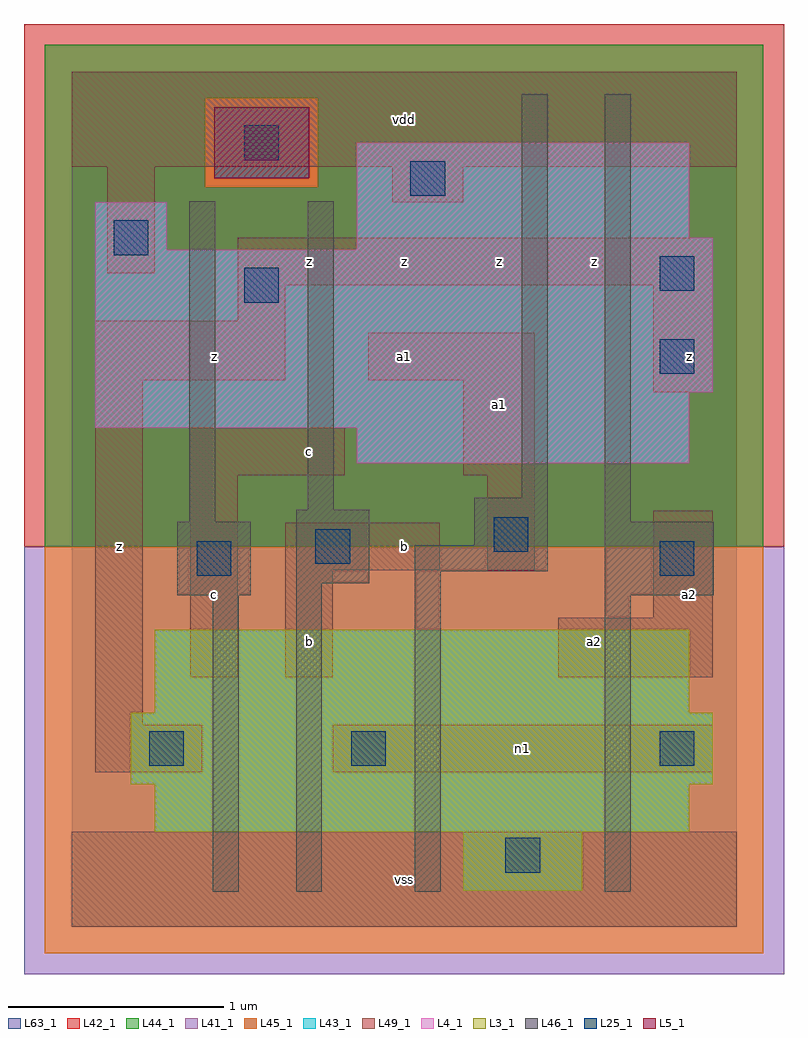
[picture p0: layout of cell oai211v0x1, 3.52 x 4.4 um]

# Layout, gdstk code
import gdstk
lib = gdstk.Library(unit=1e-6, precision=1e-09)
def R(c, l, rs):  # rectangles x0, y0, x1, y1
    for r in rs: c.add(gdstk.rectangle(r[:2], r[2:], *l))
L3_1 = (3, 1)
L4_1 = (4, 1)
L5_1 = (5, 1)
L25_1 = (25, 1)
L41_1 = (41, 1)
L42_1 = (42, 1)
L43_1 = (43, 1)
L44_1 = (44, 1)
L45_1 = (45, 1)
L46_1 = (46, 1)
L49_1 = (49, 1)
L63_1 = (63, 1)

oai211v0x1 = lib.new_cell('oai211v0x1')
R(oai211v0x1, L3_1, [(1.815,0.165,2.365,0.44), (0.385,0.44,2.86,0.66), (0.275,0.66,2.97,0.99), (0.385,0.99,2.86,1.375)])
R(oai211v0x1, L4_1, [(1.32,2.145,2.86,2.31), (0.11,2.31,2.86,2.475), (0.11,2.475,2.97,3.135), (0.11,3.135,0.44,3.355), (1.32,3.135,2.97,3.19), (1.32,3.19,2.86,3.63)])
R(oai211v0x1, L5_1, [(0.66,3.465,1.1,3.795)])
R(oai211v0x1, L25_1, [(2.01,0.25,2.17,0.41), (0.36,0.745,0.52,0.905), (1.295,0.745,1.455,0.905), (2.725,0.745,2.885,0.905), (0.58,1.625,0.74,1.785), (2.725,1.625,2.885,1.785), (1.13,1.68,1.29,1.84), (1.955,1.735,2.115,1.895), (2.725,2.56,2.885,2.72), (0.8,2.89,0.96,3.05), (2.725,2.945,2.885,3.105), (0.195,3.11,0.355,3.27), (1.57,3.385,1.73,3.545), (0.8,3.55,0.96,3.71)])
R(oai211v0x1, L41_1, [(-0.22,-0.22,3.3,1.76)])
R(oai211v0x1, L42_1, [(-0.22,1.76,3.3,4.18)])
R(oai211v0x1, L43_1, [(1.815,0.165,2.365,0.44), (0.385,0.44,2.86,0.66), (0.275,0.66,2.97,0.99), (0.385,0.99,2.86,1.375), (1.32,2.145,2.86,2.31), (0.11,2.31,2.86,2.475), (0.11,2.475,2.97,3.135), (0.11,3.135,0.44,3.355), (1.32,3.135,2.97,3.19), (1.32,3.19,2.86,3.63), (0.66,3.465,1.1,3.795)])
R(oai211v0x1, L44_1, [(-0.125,1.76,3.205,3.425), (-0.125,3.425,0.62,3.835), (1.14,3.425,3.205,3.835), (-0.125,3.835,3.205,4.085)])
R(oai211v0x1, L45_1, [(-0.125,-0.125,3.205,1.76), (0.62,3.425,1.14,3.835)])
R(oai211v0x1, L46_1, [(0.655,0.16,0.775,1.535), (1.04,0.16,1.16,1.59), (1.59,0.16,1.71,1.645), (2.47,0.16,2.59,1.535), (0.49,1.535,0.83,1.875), (2.47,1.535,2.975,1.875), (1.04,1.59,1.38,1.93), (1.59,1.645,2.205,1.765), (1.865,1.765,2.205,1.985), (0.545,1.875,0.665,3.36), (2.47,1.875,2.59,3.855), (1.095,1.93,1.215,3.36), (2.085,1.985,2.205,3.855)])
R(oai211v0x1, L49_1, [(0,0,3.08,0.44), (0.11,0.715,0.605,0.935), (1.21,0.715,2.97,0.935), (0.11,0.935,0.33,2.53), (0.55,1.155,0.77,2.09), (0.99,1.155,1.21,1.65), (2.255,1.155,2.97,1.43), (2.695,1.43,2.97,1.925), (0.99,1.65,1.705,1.87), (1.925,1.65,2.145,2.09), (0.55,2.09,1.265,2.31), (1.815,2.09,2.145,2.53), (2.695,2.475,2.97,2.97), (0.11,2.53,0.99,2.805), (1.375,2.53,2.145,2.75), (0.77,2.805,0.99,2.97), (0.77,2.97,2.97,3.19), (0.165,3.025,0.385,3.52), (1.485,3.355,1.815,3.52), (0,3.52,3.08,3.96)])
R(oai211v0x1, L63_1, [(0,0,3.08,3.96)])
oai211v0x1.add(gdstk.Label('z', (0.22,1.76), layer=49, texttype=1))
oai211v0x1.add(gdstk.Label('c', (0.66,1.54), layer=49, texttype=1))
oai211v0x1.add(gdstk.Label('z', (0.66,2.64), layer=49, texttype=1))
oai211v0x1.add(gdstk.Label('vss', (1.54,0.22), layer=49, texttype=1))
oai211v0x1.add(gdstk.Label('b', (1.1,1.32), layer=49, texttype=1))
oai211v0x1.add(gdstk.Label('b', (1.54,1.76), layer=49, texttype=1))
oai211v0x1.add(gdstk.Label('c', (1.1,2.2), layer=49, texttype=1))
oai211v0x1.add(gdstk.Label('a1', (1.54,2.64), layer=49, texttype=1))
oai211v0x1.add(gdstk.Label('z', (1.54,3.08), layer=49, texttype=1))
oai211v0x1.add(gdstk.Label('z', (1.1,3.08), layer=49, texttype=1))
oai211v0x1.add(gdstk.Label('vdd', (1.54,3.74), layer=49, texttype=1))
oai211v0x1.add(gdstk.Label('a2', (2.42,1.32), layer=49, texttype=1))
oai211v0x1.add(gdstk.Label('a1', (1.98,2.42), layer=49, texttype=1))
oai211v0x1.add(gdstk.Label('z', (2.42,3.08), layer=49, texttype=1))
oai211v0x1.add(gdstk.Label('z', (1.98,3.08), layer=49, texttype=1))
oai211v0x1.add(gdstk.Label('n1', (2.09,0.825), layer=49, texttype=1))
oai211v0x1.add(gdstk.Label('a2', (2.86,1.54), layer=49, texttype=1))
oai211v0x1.add(gdstk.Label('z', (2.86,2.64), layer=49, texttype=1))

lib.write_gds('oai211v0x1.gds')
